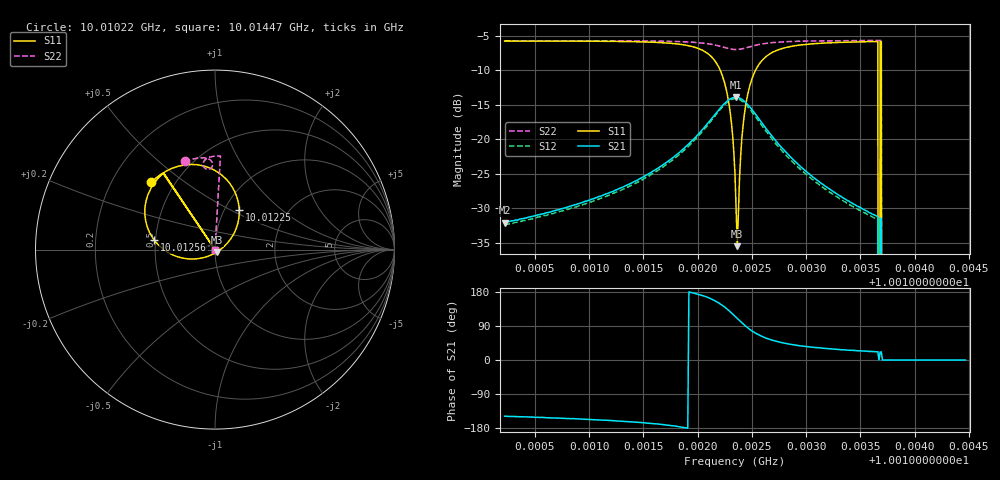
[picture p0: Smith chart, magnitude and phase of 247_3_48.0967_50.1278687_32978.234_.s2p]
#  HZ  S  RI  R  50.00
! Rohde & Schwarz Vector Network Analyzer
! Rohde-Schwarz,ZNB20-2Port,1311601062101988,3.16
! Created: UTC 12/23/2023, 3:59:23 AM
! freq[Hz]  re:S11  im:S11  re:S21  im:S21  re:S12  im:S12  re:S22  im:S22
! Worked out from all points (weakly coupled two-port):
!   401 points, 10.01022 GHz to 10.01447 GHz, reference 50 ohm
!   highest |S21| = -13.89 dB at 10.01236 GHz (marker M1); lowest = -32.1 dB at 10.01022 GHz (marker M2)
!   lowest |S11| = -35.5 dB at 10.01237 GHz (marker M3), VSWR 1.03, Z = 50.9 - j1.43 ohm
!   |S11| at or under -10 dB: 10.01221 GHz to 10.01253 GHz (324.1 kHz wide, 0.00324 % of centre); 10.01366 GHz to 10.01368 GHz (20.77 kHz wide, 0.000207 % of centre); 10.01369 GHz to end of sweep
!   |S22| runs from - to -5.6 dB; largest |S21 - S12| = 0.026
!   S11 on the Smith chart (normalised r, x): 10.01022 GHz: 0.37, +0.38; 10.01225 GHz: 1.17, +0.55; 10.01256 GHz: 0.49, +0.06; 10.01447 GHz: 1.00, +0.00
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1.0010221e10  -0.3539 0.3767  -0.0211 -0.013  -0.0196 -0.0137  -0.1685 0.491
1.0010932e10  -0.2977 0.4218  -0.0317 -0.014  -0.0298 -0.015  -0.1218 0.505
1.0011644e10  -0.1873 0.4686  -0.0614 -0.0117  -0.0585 -0.0143  -0.0675 0.5118
1.0012068e10  0.0132 0.4325  -0.121 0.0258  -0.1188 0.0188  -0.0237 0.4973
1.0012249e10  0.135 0.2186  -0.1395 0.1172  -0.1417 0.1089  -0.0153 0.4641
1.0012313e10  0.1008 0.0808  -0.1113 0.1647  -0.116 0.1565  -0.0264 0.4509
1.0012345e10  0.0524 0.0191  -0.0868 0.1824  -0.0911 0.1754  -0.0353 0.4477
1.0012355e10  0.0314 0.00126  -0.0771 0.1868  -0.082 0.1798  -0.0382 0.4472
1.0012366e10  0.0092 -0.014  -0.0675 0.1901  -0.072 0.1833  -0.0415 0.4472
1.0012376e10  -0.0143 -0.0268  -0.0577 0.1923  -0.0621 0.1857  -0.0447 0.4477
1.0012408e10  -0.0899 -0.0498  -0.0278 0.1932  -0.033 0.1869  -0.0533 0.4512
1.001244e10  -0.1629 -0.0502  -0.000155 0.1862  -0.0055 0.1804  -0.06 0.4569
1.0012557e10  -0.3381 0.0524  0.055 0.1326  0.049 0.1286  -0.0655 0.4825
1.0013056e10  -0.3576 0.3404  0.0449 0.0298  0.0411 0.0305  -0.019 0.5178
1.001364e10  -0.2909 0.4226  0.0259 0.0105  0.0241 0.0112  0.0265 0.5217
1.001365e10  -0.29 0.4235  0.0258 0.0102  0.0238 0.0111  0.0273 0.5217
1.0013672e10  0 0  0 0  0.0236 0.0108  0.0289 0.5216
1.0013693e10  -0.2858 0.4269  0.0248 0.00965  0.0231 0.0105  0.0304 0.5216
1.0013704e10  0 0  0 0  0 0  0 0
1.0013725e10  0 0  0 0  0 0  0 0
1.0013767e10  0 0  0 0  0 0  0 0
1.0014468e10  0 0  0 0  0 0  0 0
